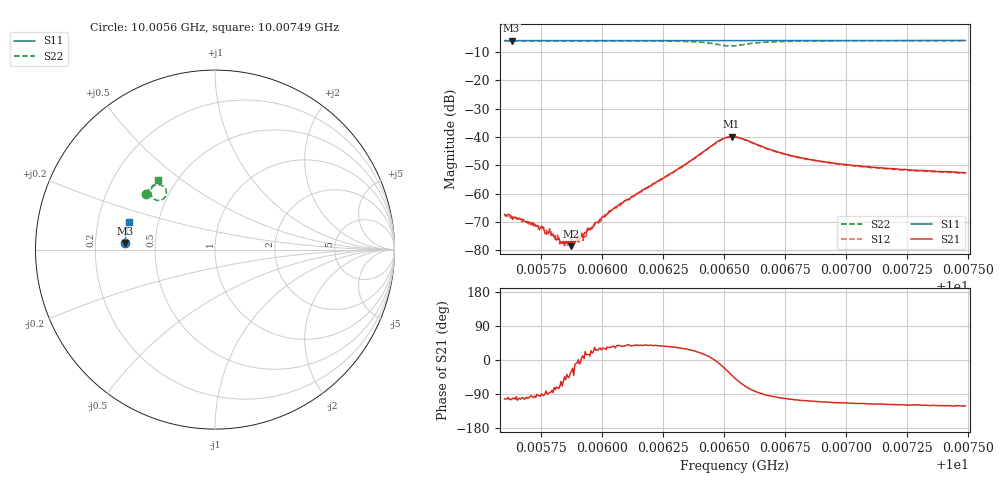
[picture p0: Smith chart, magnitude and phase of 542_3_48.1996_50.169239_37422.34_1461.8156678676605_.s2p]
#  HZ  S  RI  R  50.00
! Rohde & Schwarz Vector Network Analyzer
! Rohde-Schwarz,ZNB20-2Port,1311601062101988,3.16
! Created: UTC 3/20/2024, 12:00:20 PM
! freq[Hz]  re:S11  im:S11  re:S21  im:S21  re:S12  im:S12  re:S22  im:S22
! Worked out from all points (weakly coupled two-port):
!   401 points, 10.0056 GHz to 10.00749 GHz, reference 50 ohm
!   highest |S21| = -39.88 dB at 10.00653 GHz (marker M1); lowest = -78.6 dB at 10.00588 GHz (marker M2)
!   lowest |S11| = -6.0 dB at 10.00563 GHz (marker M3), VSWR 3.01, Z = 16.6 + j1.67 ohm
!   |S11| at or under -10 dB: nowhere
!   |S22| runs from -7.9 to -6.0 dB; largest |S21 - S12| = 0.00066
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1.0005601e10  -0.5002 0.0356  -9.46e-05 -0.000419  -9.71e-05 -0.000414  -0.3864 0.3123
1.000563e10  -0.4998 0.0375  -0.0001 -0.000383  -2.45e-05 -0.000367  -0.3852 0.3139
1.0005724e10  -0.4996 0.0437  -2.85e-05 -0.00029  2.22e-06 -0.000262  -0.3806 0.3197
1.0005767e10  -0.4995 0.0465  2.34e-06 -0.000199  -8.04e-06 -0.000225  -0.3787 0.3221
1.0005795e10  -0.4993 0.0482  3.1e-05 -0.000181  6.49e-05 -0.000168  -0.3772 0.324
1.0005838e10  -0.4991 0.0511  4.72e-05 -0.000123  8.63e-05 -0.000113  -0.3751 0.3268
1.0005875e10  -0.499 0.0534  0.000102 -5.84e-05  0.000123 -4.79e-05  -0.373 0.3291
1.0005899e10  -0.4989 0.0551  0.000161 -2.1e-05  0.000164 -5.28e-05  -0.3716 0.3304
1.0005918e10  -0.4988 0.0564  0.000177 2.44e-05  0.000202 3.01e-06  -0.3705 0.3318
1.0005932e10  -0.4986 0.0571  0.000192 7.81e-05  0.000165 3.96e-05  -0.3698 0.3326
1.0005951e10  -0.4985 0.0584  0.000228 4.17e-05  0.000205 8.23e-05  -0.3686 0.3339
1.0005989e10  -0.4983 0.0608  0.000285 0.000164  0.000275 0.00013  -0.3663 0.3363
1.0006045e10  -0.498 0.0645  0.000426 0.000319  0.000412 0.000367  -0.3623 0.3403
1.0006234e10  -0.4966 0.0768  0.00136 0.00103  0.00127 0.00105  -0.344 0.3544
1.0006338e10  -0.4956 0.0835  0.00278 0.00156  0.00263 0.00169  -0.3249 0.3614
1.0006475e10  -0.4938 0.0921  0.00826 -0.000893  0.0081 -0.000446  -0.2731 0.3322
1.0006532e10  -0.493 0.0953  0.0078 -0.00648  0.00799 -0.00586  -0.2869 0.2833
1.0006546e10  -0.493 0.096  0.00666 -0.00749  0.00702 -0.00695  -0.2989 0.2764
1.0006712e10  -0.4921 0.1065  -0.000722 -0.00558  -0.000466 -0.00547  -0.3586 0.3191
1.0006863e10  -0.4902 0.1162  -0.00125 -0.00375  -0.00106 -0.00373  -0.3524 0.3444
1.0007179e10  -0.4858 0.1363  -0.00126 -0.00246  -0.00114 -0.00246  -0.3345 0.3704
1.0007491e10  -0.4806 0.1559  -0.00122 -0.00198  -0.00108 -0.00199  -0.318 0.3879
